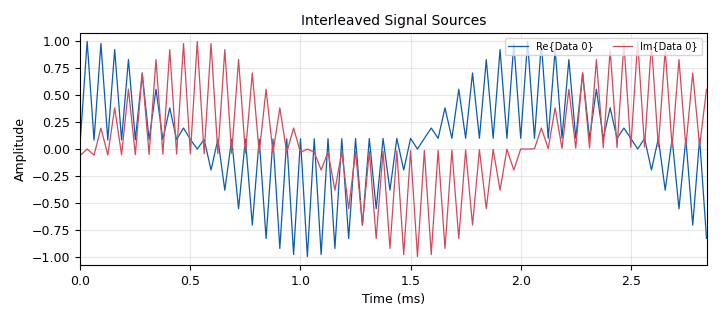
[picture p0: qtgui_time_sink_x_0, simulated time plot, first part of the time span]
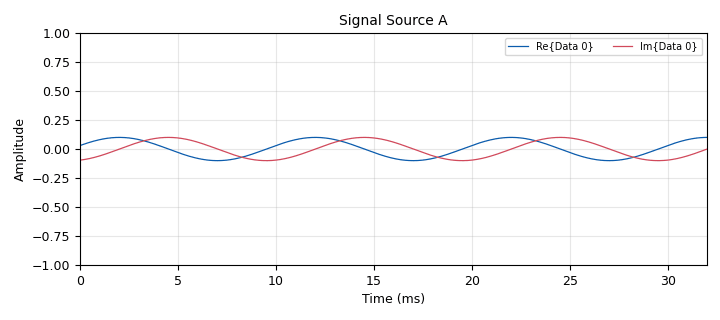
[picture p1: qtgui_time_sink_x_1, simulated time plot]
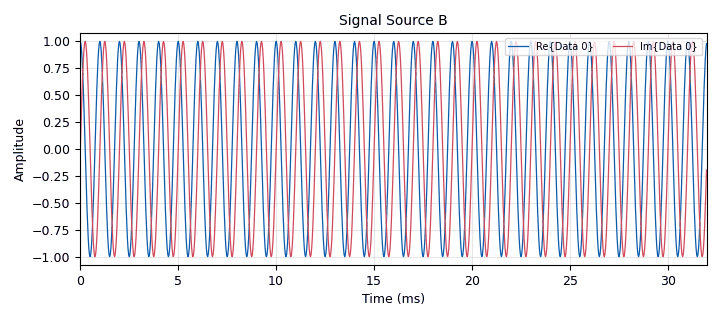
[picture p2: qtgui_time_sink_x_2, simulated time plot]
options:
  parameters:
    generate_options: qt_gui
    id: andreteo
    output_language: python
    title: HR/BR Using Wireless and Machine Learning
  states: {}

blocks:
- name: samp_rate
  id: variable
  parameters:
    value: '32000'
  states: {}
- name: signal_source_freq
  id: variable
  parameters:
    value: ''
  states: {state: disabled}
- name: variable_qtgui_chooser_0
  id: variable_qtgui_chooser
  parameters:
    label0: 'Frequency: 1000'
    label1: 'Frequency: 2000'
    label2: 'Frequency: 5000'
    num_opts: '3'
    option0: '1000'
    option1: '2000'
    option2: '5000'
    type: int
    value: '1000'
  states: {}
- name: variable_qtgui_range_0
  id: variable_qtgui_range
  parameters:
    start: '-samp_rate/2'
    step: '100'
    stop: samp_rate/2
    value: '0'
  states: {}
- name: analog_sig_source_x_0
  id: analog_sig_source_x
  parameters:
    amp: '1'
    freq: variable_qtgui_chooser_0
    offset: '0'
    phase: '0'
    samp_rate: samp_rate
    type: complex
    waveform: analog.GR_COS_WAVE
  states: {}
- name: analog_sig_source_x_1
  id: analog_sig_source_x
  parameters:
    amp: '0.1'
    freq: '100'
    offset: '0'
    phase: '0'
    samp_rate: samp_rate
    type: complex
    waveform: analog.GR_COS_WAVE
  states: {}
- name: blocks_streams_to_vector_0
  id: blocks_streams_to_vector
  parameters:
    type: complex
  states: {}
- name: blocks_vector_to_stream_0
  id: blocks_vector_to_stream
  parameters:
    type: complex
  states: {}
- name: note_0
  id: note
  parameters:
    note: https://wiki.gnuradio.org/index.php?title=Streams_and_Vectors
  states: {}
- name: qtgui_time_sink_x_0
  id: qtgui_time_sink_x
  parameters:
    name: '"Interleaved Signal Sources"'
    size: '1024'
    srate: samp_rate
    type: complex
  states: {}
- name: qtgui_time_sink_x_1
  id: qtgui_time_sink_x
  parameters:
    name: '"Signal Source A"'
    size: '1024'
    srate: samp_rate
    type: complex
  states: {}
- name: qtgui_time_sink_x_2
  id: qtgui_time_sink_x
  parameters:
    name: '"Signal Source B"'
    size: '1024'
    srate: samp_rate
    type: complex
  states: {}

connections:
- [analog_sig_source_x_0, '0', blocks_streams_to_vector_0, '1']
- [analog_sig_source_x_0, '0', qtgui_time_sink_x_2, '0']
- [analog_sig_source_x_1, '0', blocks_streams_to_vector_0, '0']
- [analog_sig_source_x_1, '0', qtgui_time_sink_x_1, '0']
- [blocks_streams_to_vector_0, '0', blocks_vector_to_stream_0, '0']
- [blocks_vector_to_stream_0, '0', qtgui_time_sink_x_0, '0']

metadata:
  file_format: 1
  grc_version: 3.10.10.0
